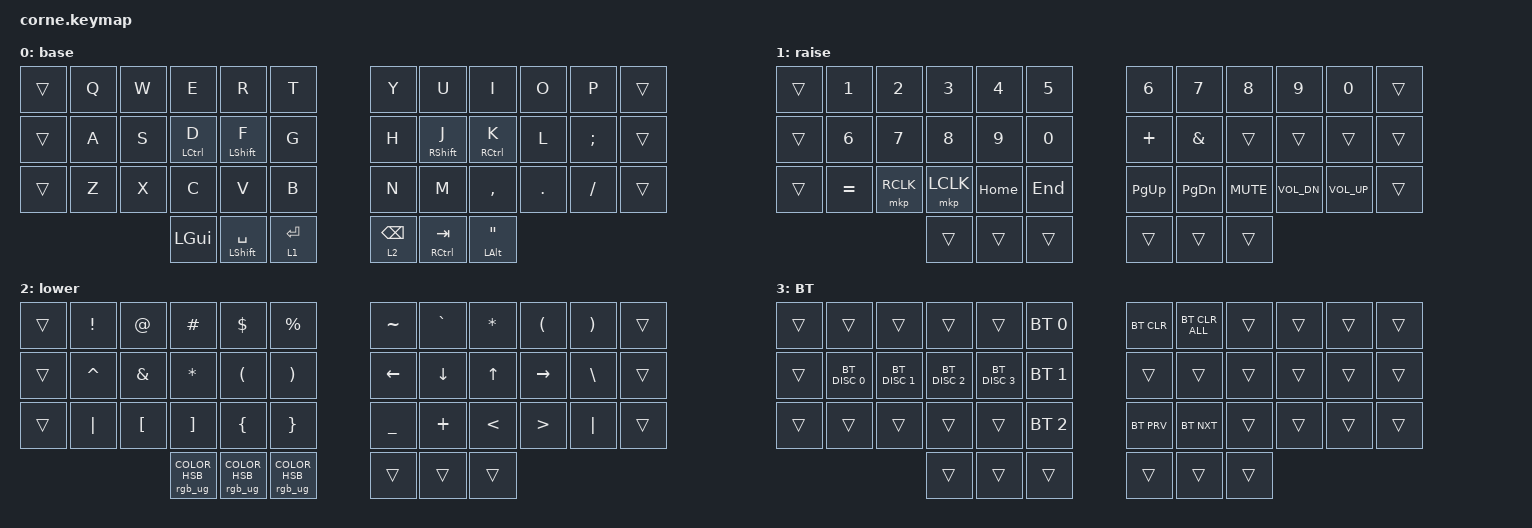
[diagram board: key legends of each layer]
/*
 * Copyright (c) 2020 The ZMK Contributors
 *
 * SPDX-License-Identifier: MIT
 */

#include <behaviors.dtsi>
#include <dt-bindings/zmk/bt.h>
#include <dt-bindings/zmk/keys.h>
#include <dt-bindings/zmk/pointing.h>
#include <dt-bindings/zmk/rgb.h>

/ {
    behaviors {
        hm: homerow_mods {
            compatible = "zmk,behavior-hold-tap";
            label = "HOMEROW_MODS";
            #binding-cells = <2>;
            tapping-term-ms = <150>;
            quick-tap-ms = <0>;
            flavor = "tap-preferred";
            bindings = <&kp>, <&kp>;
        };
    };

    combos {
        compatible = "zmk,combos";

        backspace {
            bindings = <&kp BSPC>;
            key-positions = <15 14>;
        };

        backslash {
            bindings = <&kp BACKSLASH>;
            key-positions = <10 9>;
        };

        esc {
            bindings = <&kp ESC>;
            key-positions = <1 3>;
        };

        singlequote {
            bindings = <&kp SINGLE_QUOTE>;
            key-positions = <30 31>;
        };

        dash {
            bindings = <&kp MINUS>;
            key-positions = <26 27>;
        };

        btlayer {
            bindings = <&mo 3>;
            key-positions = <38 39>;
        };

        home {
            bindings = <&kp HOME>;
            key-positions = <6 7>;
        };

        end {
            bindings = <&kp END>;
            key-positions = <7 8>;
        };
    };

    macros {
        zed_em_kay: zed_em_kay {
            compatible = "zmk,behavior-macro";
            label = "ZM_zed_em_kay";
            #binding-cells = <0>;
            bindings =
                <&macro_press>,
                <&kp LSHFT>,
                <&macro_tap>,
                <&kp Z &kp M &kp K>,
                <&macro_release>,
                <&kp LSHFT>;
        };
    };

    keymap {
        compatible = "zmk,keymap";

        base {
            bindings = <
&trans  &kp Q  &kp W  &kp E        &kp R            &kp T          &kp Y            &kp U          &kp I                   &kp O    &kp P     &trans
&trans  &kp A  &kp S  &hm LCTRL D  &hm LSHIFT F     &kp G          &kp H            &hm RSHIFT J   &hm RCTRL K             &kp L    &kp SEMI  &trans
&trans  &kp Z  &kp X  &kp C        &kp V            &kp B          &kp N            &kp M          &kp COMMA               &kp DOT  &kp FSLH  &trans
                      &kp LGUI     &hm LSHFT SPACE  &lt 1 ENTER    &lt 2 BACKSPACE  &hm RCTRL TAB  &mt LALT DOUBLE_QUOTES
            >;
        };

        raise {
            bindings = <
&trans  &kp N1     &kp N2     &kp N3     &kp N4    &kp N5     &kp N6       &kp N7         &kp N8      &kp N9        &kp N0           &trans
&trans  &kp N6     &kp N7     &kp N8     &kp N9    &kp N0     &kp PLUS     &kp AMPERSAND  &trans      &trans        &trans           &trans
&trans  &kp EQUAL  &mkp RCLK  &mkp LCLK  &kp HOME  &kp END    &kp PAGE_UP  &kp PAGE_DOWN  &kp C_MUTE  &kp C_VOL_DN  &kp C_VOLUME_UP  &trans
                              &trans     &trans    &trans     &trans       &trans         &trans
            >;
        };

        lower {
            bindings = <
&trans  &kp EXCL   &kp AT            &kp HASH                        &kp DLLR                          &kp PRCNT                           &kp TILDE  &kp GRAVE       &kp ASTERISK   &kp LPAR          &kp RPAR  &trans
&trans  &kp CARET  &kp AMPS          &kp ASTRK                       &kp LEFT_PARENTHESIS              &kp RIGHT_PARENTHESIS               &kp LEFT   &kp DOWN_ARROW  &kp UP         &kp RIGHT         &kp BSLH  &trans
&trans  &kp PIPE   &kp LEFT_BRACKET  &kp RIGHT_BRACKET               &kp LEFT_BRACE                    &kp RIGHT_BRACE                     &kp UNDER  &kp PLUS        &kp LESS_THAN  &kp GREATER_THAN  &kp PIPE  &trans
                                     &rgb_ug RGB_COLOR_HSB(0,50,56)  &rgb_ug RGB_COLOR_HSB(104,57,55)  &rgb_ug RGB_COLOR_HSB(209,50,55)    &trans     &trans          &trans
            >;
        };

        BT {
            bindings = <
&trans  &trans         &trans         &trans         &trans         &bt BT_SEL 0    &bt BT_CLR  &bt BT_CLR_ALL  &trans  &trans  &trans  &trans
&trans  &bt BT_DISC 0  &bt BT_DISC 1  &bt BT_DISC 2  &bt BT_DISC 3  &bt BT_SEL 1    &trans      &trans          &trans  &trans  &trans  &trans
&trans  &trans         &trans         &trans         &trans         &bt BT_SEL 2    &bt BT_PRV  &bt BT_NXT      &trans  &trans  &trans  &trans
                                      &trans         &trans         &trans          &trans      &trans          &trans
            >;
        };
    };
};
